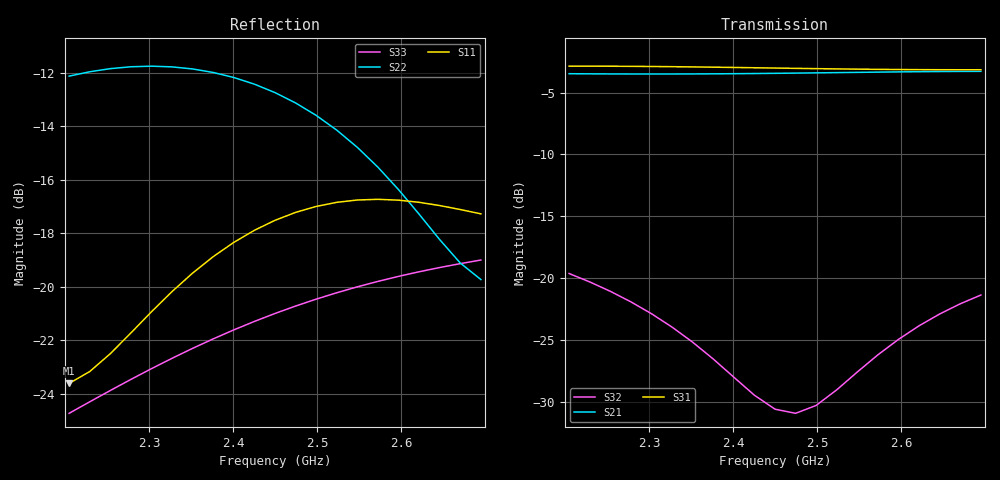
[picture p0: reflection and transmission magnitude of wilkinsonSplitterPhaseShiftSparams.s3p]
# GHz S RI R 50
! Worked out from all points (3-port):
!   21 points, 2.205 GHz to 2.695 GHz, reference 50 ohm
!   strongest paths, dB at 2.205 GHz, 2.328 GHz, 2.45 GHz, 2.572 GHz, 2.695 GHz:
!     S31: -2.9, -2.9, -3.0, -3.1, -3.2
!     S21: -3.5, -3.5, -3.4, -3.3, -3.3
!     S32: -19.6, -23.9, -30.6, -26.2, -21.4
!   lowest |S11| = -23.6 dB at 2.205 GHz (marker M1), VSWR 1.14, Z = 49 - j6.46 ohm
!   |S11| at or under -10 dB: start of sweep to end of sweep
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2.205  -0.00631 -0.0657  -0.5744 0.345  0.5592 0.4514
       -0.5744 0.345  -0.1062 -0.2236  0.1009 -0.0274
       0.5592 0.4514  0.1009 -0.0274  0.0463 0.035
2.2785  -0.0619 -0.0538  -0.4303 0.5115  0.6361 0.3321
        -0.4303 0.5115  -0.1761 -0.1882  0.0641 -0.0484
        0.6361 0.3321  0.0641 -0.0484  0.0623 0.025
2.3275  -0.0922 -0.0333  -0.3082 0.5931  0.6719 0.2453
        -0.3082 0.5931  -0.212 -0.1463  0.0374 -0.0514
        0.6719 0.2453  0.0374 -0.0514  0.072 0.0151
2.401  -0.1208 0.00896  -0.0989 0.6628  0.7016 0.1102
       -0.0989 0.6628  -0.2376 -0.0642  0.000491 -0.0399
       0.7016 0.1102  0.000491 -0.0399  0.083 -0.00478
2.45  -0.1272 0.0394  0.0496 0.6706  0.7059 0.02
      0.0496 0.6706  -0.2306 -0.00444  -0.0185 -0.0232
      0.7059 0.02  -0.0185 -0.0232  0.0868 -0.0207
2.4745  -0.1268 0.0539  0.1242 0.6622  0.7038 -0.0244
        0.1242 0.6622  -0.2192 0.0244  -0.0255 -0.0127
        0.7038 -0.0244  -0.0255 -0.0127  0.0874 -0.0291
2.499  -0.1243 0.0673  0.1979 0.6457  0.6991 -0.0682
       0.1979 0.6457  -0.2027 0.0512  -0.0306 -0.00126
       0.6991 -0.0682  -0.0306 -0.00126  0.087 -0.0378
2.5725  -0.1079 0.098  0.4041 0.5469  0.67 -0.1948
        0.4041 0.5469  -0.1258 0.1104  -0.0335 0.0359
        0.67 -0.1948  -0.0335 0.0359  0.08 -0.0639
2.646  -0.0872 0.1119  0.5678 0.381  0.6209 -0.313
       0.5678 0.381  -0.0237 0.1202  -0.0171 0.0697
       0.6209 -0.313  -0.0171 0.0697  0.0643 -0.0876
2.695  -0.0769 0.1133  0.6411 0.2413  0.5778 -0.3865
       0.6411 0.2413  0.0435 0.0936  0.00265 0.0855
       0.5778 -0.3865  0.00265 0.0855  0.0496 -0.1007
